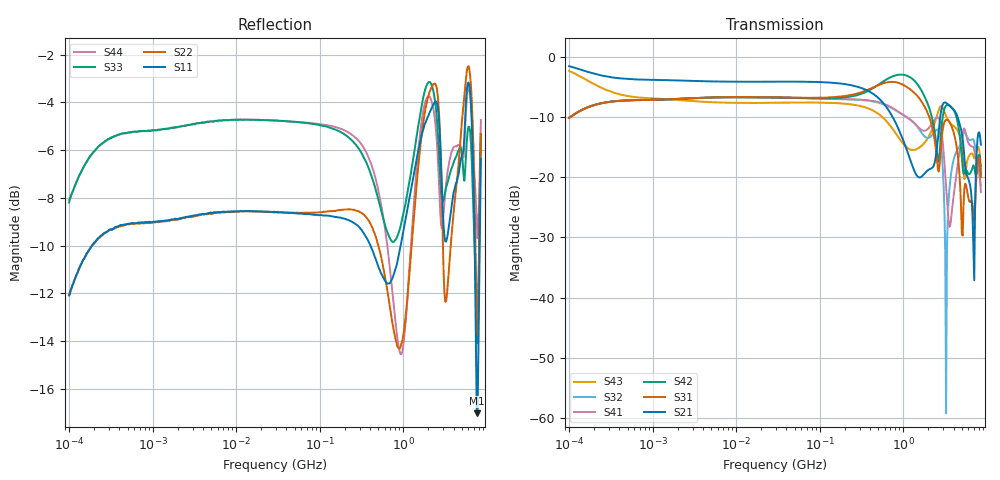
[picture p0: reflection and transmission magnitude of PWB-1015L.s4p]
# MHz S MA R 50
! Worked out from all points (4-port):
!   498 points, 100 kHz to 8.5 GHz, reference 50 ohm
!   strongest paths, dB at 100 kHz, 1.698 MHz, 29.49 MHz, 500.7 MHz, 8.5 GHz:
!     S21: -1.5, -3.9, -4.1, -6.8, -14.6
!     S31: -10.1, -7.0, -6.7, -4.7, -20.0
!     S42: -10.1, -7.0, -6.7, -4.6, -19.6
!     S41: -10.2, -7.0, -6.7, -7.5, -22.5
!     S32: -10.1, -7.0, -6.7, -7.6, -21.4
!     S43: -2.3, -7.1, -7.6, -9.4, -18.1
!   lowest |S11| = -17.0 dB at 7.583 GHz (marker M1), VSWR 1.33, Z = 50.8 + j14.3 ohm
!   |S11| at or under -10 dB: start of sweep to 187.6 kHz; 405.6 MHz to 930 MHz (524.4 MHz wide, 78.5 % of centre); 7.158 GHz to 8.235 GHz (1.077 GHz wide, 14 % of centre)
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0.1  0.2486 45.0  0.839 -12.2  0.3113 45.4  0.3107 -134.8
     0.839 -12.2  0.2499 46.3  0.3122 -135.2  0.3129 44.7
     0.3113 45.4  0.3122 -135.2  0.3894 44.3  0.7671 -21.0
     0.3107 -134.8  0.3129 44.7  0.7671 -21.0  0.3946 44.6
601.0223  0.2675 -53.8  0.3993 -128.2  0.6092 -59.4  0.4054 36.3
          0.3993 -128.2  0.2737 -74.1  0.4007 39.2  0.6379 -50.6
          0.6092 -59.4  0.4007 39.2  0.3506 -66.1  0.3029 -136.5
          0.4054 36.3  0.6379 -50.6  0.3029 -136.5  0.3462 -86.8
2652.059  0.5933 158.7  0.2413 -139.2  0.1116 93.5  0.3117 101.6
          0.2413 -139.2  0.6193 156.7  0.2427 99.6  0.1348 95.4
          0.1116 93.5  0.2427 99.6  0.5099 150.2  0.3618 -159.6
          0.3117 101.6  0.1348 95.4  0.3618 -159.6  0.4443 156.1
3257.229  0.3224 111.3  0.4157 108.1  0.3005 43.6  0.08519 7.1
          0.4157 108.1  0.2419 115.2  0.001091 138.3  0.3946 44.0
          0.3005 43.6  0.001091 138.3  0.419 109.5  0.3233 102.5
          0.08519 7.1  0.3946 44.0  0.3233 102.5  0.426 130.1
5765.102  0.6698 -102.3  0.1043 173.9  0.08011 165.0  0.2124 -162.5
          0.1043 173.9  0.7329 -104.3  0.2198 -151.8  0.1135 130.4
          0.08011 165.0  0.2198 -151.8  0.5227 -103.5  0.1313 -127.4
          0.2124 -162.5  0.1135 130.4  0.1313 -127.4  0.6401 -101.7
7582.758  0.1408 78.7  0.1666 103.3  0.113 41.7  0.1291 -3.3
          0.1666 103.3  0.2249 108.4  0.142 -0.5  0.1086 -21.6
          0.113 41.7  0.142 -0.5  0.2078 125.2  0.1663 55.0
          0.1291 -3.3  0.1086 -21.6  0.1663 55.0  0.3579 127.9
8500  0.481 -36.5  0.1868 -73.3  0.09997 -98.3  0.0753 -100.4
      0.1868 -73.3  0.5425 -36.7  0.08503 -87.5  0.1045 -145.0
      0.09997 -98.3  0.08503 -87.5  0.5421 -35.4  0.1245 -71.2
      0.0753 -100.4  0.1045 -145.0  0.1245 -71.2  0.5799 -34.0
